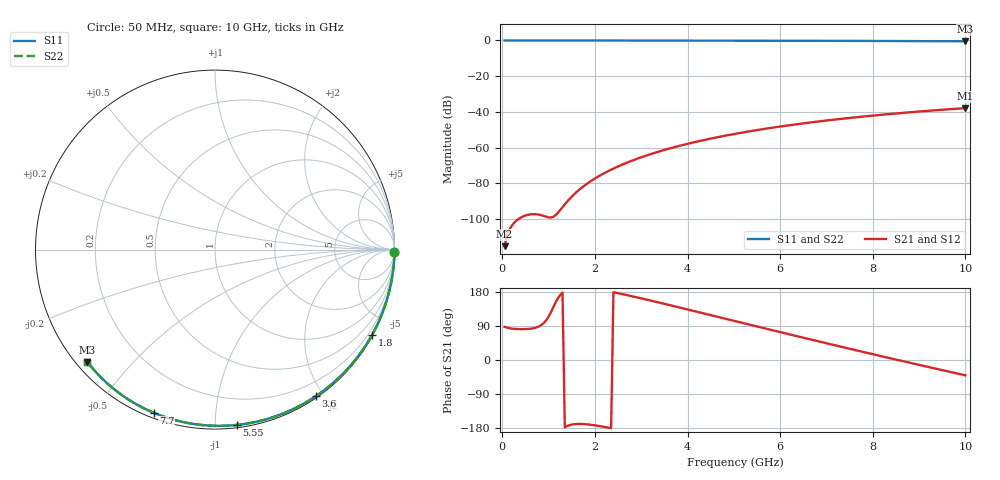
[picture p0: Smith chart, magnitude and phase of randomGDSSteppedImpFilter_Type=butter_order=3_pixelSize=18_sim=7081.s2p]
! freq	dB(S11)	phase(S11)	dB(S12)	phase(S12)
!  dB(S21)	phase(S21)	dB(S22)	phase(S22)
!S-par simulation data
#  GHz  S  DB  R 50
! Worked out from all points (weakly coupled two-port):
!   200 points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, 50 MHz to 10 GHz, reference 50 ohm
!   highest |S21| = -37.90 dB at 10 GHz (marker M1); lowest = -115.2 dB at 50 MHz (marker M2)
!   lowest |S11| = -0.5 dB at 10 GHz (marker M3), VSWR 36.92, Z = 1.55 - j18.8 ohm
!   |S11| at or under -10 dB: nowhere
!   |S22| runs from -0.5 to 0.0 dB; largest |S21 - S12| = 0
!   S11 on the Smith chart (normalised r, x): 50 MHz: open; 1.8 GHz: 0.03, -3.95; 3.6 GHz: 0.02, -1.90; 5.55 GHz: 0.02, -1.13; 7.7 GHz: 0.02, -0.69; 10 GHz: 0.03, -0.38
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0.05  -0.00 -0.8  -115.18 87.5  -115.18 87.5  -0.00 -0.8
0.45  -0.01 -7.2  -98.51 81.4  -98.51 81.4  -0.01 -7.2
0.9  -0.02 -14.4  -98.31 98.2  -98.31 98.2  -0.02 -14.4
1.75  -0.04 -27.7  -81.72 -169.1  -81.72 -169.1  -0.04 -27.7
1.8  -0.04 -28.4  -80.75 -169.5  -80.75 -169.5  -0.04 -28.4
1.85  -0.04 -29.2  -79.83 -170.1  -79.83 -170.1  -0.04 -29.2
2  -0.04 -31.5  -77.28 -172.4  -77.28 -172.4  -0.04 -31.5
2.15  -0.04 -33.8  -75.01 -175.3  -75.01 -175.3  -0.04 -33.8
2.35  -0.05 -36.9  -72.33 -179.9  -72.33 -179.9  -0.05 -36.9
2.55  -0.05 -39.9  -69.95 175.0  -69.95 175.0  -0.05 -39.9
2.95  -0.06 -46.0  -65.87 164.1  -65.87 164.1  -0.06 -46.0
3.4  -0.07 -52.6  -62.06 151.2  -62.06 151.2  -0.07 -52.6
3.6  -0.07 -55.6  -60.57 145.3  -60.57 145.3  -0.07 -55.5
4.3  -0.09 -65.6  -56.07 124.5  -56.07 124.5  -0.09 -65.6
5.05  -0.12 -76.1  -52.17 102.0  -52.17 102.0  -0.12 -76.1
5.55  -0.14 -82.9  -49.96 87.0  -49.96 87.0  -0.14 -82.9
6.1  -0.16 -90.2  -47.82 70.6  -47.82 70.6  -0.16 -90.2
6.7  -0.19 -98.0  -45.76 52.9  -45.76 52.9  -0.19 -98.0
7.7  -0.25 -110.6  -42.84 23.9  -42.84 23.9  -0.25 -110.6
8.35  -0.30 -118.6  -41.22 5.4  -41.22 5.4  -0.30 -118.6
9.2  -0.38 -129.0  -39.38 -18.5  -39.38 -18.5  -0.38 -129.0
10  -0.47 -138.7  -37.90 -40.4  -37.90 -40.4  -0.47 -138.7
